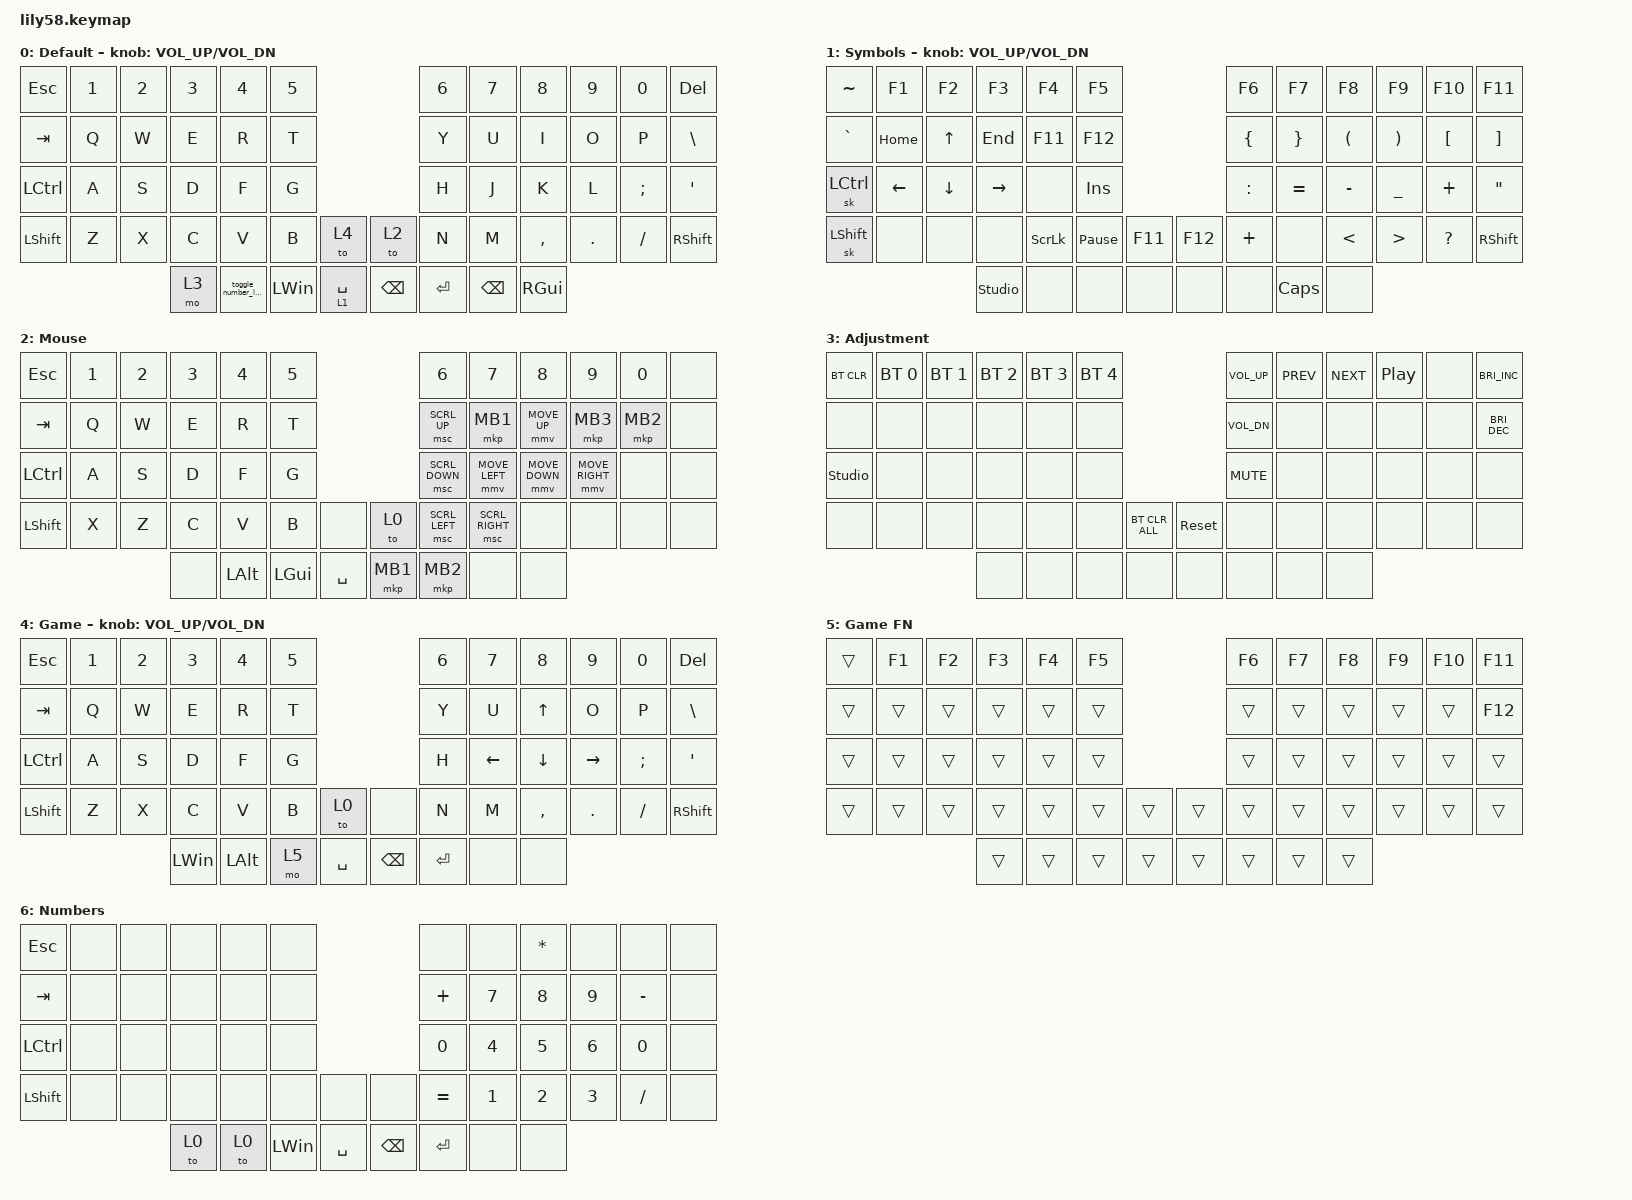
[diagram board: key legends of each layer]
/*
 * Copyright (c) 2020 The ZMK Contributors
 *
 * SPDX-License-Identifier: MIT
 */

#include <behaviors.dtsi>
#include <dt-bindings/zmk/bt.h>
#include <dt-bindings/zmk/keys.h>
#include <dt-bindings/zmk/pointing.h>

/ {
    combos {
        compatible = "zmk,combos";

        grave {
            bindings = <&kp GRAVE>;
            key-positions = <12 13>;
            layers = <0 4>;
        };

        tilde {
            bindings = <&kp TILDE>;
            key-positions = <0 1>;
            layers = <0 4>;
        };

        caps {
            bindings = <&kp CAPS>;
            key-positions = <36 49>;
            layers = <0>;
        };
    };

    behaviors {
        toggle_number_layer: toggle_number_layer {
            compatible = "zmk,behavior-tap-dance";
            label = "TOGGLE_NUMBER_LAYER";
            #binding-cells = <0>;
            bindings = <&kp LEFT_ALT>, <&to 6>;
        };
    };

    keymap {
        compatible = "zmk,keymap";

        default_layer {
            // ------------------------------------------------------------------------------------------------------------
            // |  ESC  |  1  |  2  |  3   |  4   |  5   |                   |  6   |  7    |  8    |  9   |   0   |   `   |
            // |  TAB  |  Q  |  W  |  E   |  R   |  T   |                   |  Y   |  U    |  I    |  O   |   P   |   -   |
            // |  CTRL |  A  |  S  |  D   |  F   |  G   |                   |  H   |  J    |  K    |  L   |   ;   |   '   |
            // | SHIFT |  Z  |  X  |  C   |  V   |  B   |   "["  |  |  "]"  |  N   |  M    |  ,    |  .   |   /   | SHIFT |
            //                     | ALT  | GUI  | LOWER|  ENTER |  | SPACE | RAISE| BSPC  | GUI   |

            bindings = <
&kp ESC    &kp N1  &kp N2  &kp N3  &kp N4                &kp N5                                      &kp N6     &kp N7    &kp N8     &kp N9   &kp N0    &kp DELETE
&kp TAB    &kp Q   &kp W   &kp E   &kp R                 &kp T                                       &kp Y      &kp U     &kp I      &kp O    &kp P     &kp BACKSLASH
&kp LCTRL  &kp A   &kp S   &kp D   &kp F                 &kp G                                       &kp H      &kp J     &kp K      &kp L    &kp SEMI  &kp SQT
&kp LSHFT  &kp Z   &kp X   &kp C   &kp V                 &kp B         &to 4          &to 2          &kp N      &kp M     &kp COMMA  &kp DOT  &kp FSLH  &kp RSHFT
                           &mo 3   &toggle_number_layer  &kp LEFT_WIN  &lt 1 SPACE    &kp BACKSPACE  &kp ENTER  &kp BSPC  &kp RGUI
            >;

            sensor-bindings = <&inc_dec_kp C_VOL_UP C_VOL_DN>;
            label = "Default";
        };

        symbol_layer {
            // ------------------------------------------------------------------------------------------------------------
            // | BTCLR | BT1 | BT2 |  BT3 |  BT4 |  BT5 |                   |      |       |       |      |       |       |
            // |  F1   |  F2 |  F3 |  F4  |  F5  |  F6  |                   |  F7  |  F8   |  F9   |  F10 |  F11  |  F12  |
            // |   `   |  !  |  @  |  #   |  $   |  %   |                   |  ^   |  &    |  *    |  (   |   )   |   ~   |
            // |       |     |     |      |      |      |        |  |       |      |  _    |  +    |  {   |   }   |  "|"  |
            //                     |      |      |      |        |  |       |      |       |       |

            bindings = <
&kp TILDE         &kp F1          &kp F2          &kp F3          &kp F4          &kp F5                               &kp F6          &kp F7           &kp F8                &kp F9                 &kp F10           &kp F11
&kp GRAVE         &kp HOME        &kp UP_ARROW    &kp END         &kp F11         &kp F12                              &kp LEFT_BRACE  &kp RIGHT_BRACE  &kp LEFT_PARENTHESIS  &kp RIGHT_PARENTHESIS  &kp LEFT_BRACKET  &kp RIGHT_BRACKET
&sk LEFT_CONTROL  &kp LEFT_ARROW  &kp DOWN_ARROW  &kp RIGHT       &none           &kp INS                              &kp COLON       &kp EQUAL        &kp MINUS             &kp UNDER              &kp PLUS          &kp DOUBLE_QUOTES
&sk LEFT_SHIFT    &none           &none           &none           &kp SCROLLLOCK  &kp PAUSE_BREAK  &kp F11    &kp F12  &kp PLUS        &none            &kp LESS_THAN         &kp GREATER_THAN       &kp QUESTION      &kp RIGHT_SHIFT
                                                  &studio_unlock  &none           &none            &none      &none    &none           &kp CAPS         &none
            >;

            sensor-bindings = <&inc_dec_kp C_VOL_UP C_VOL_DN>;
            label = "Symbols";
        };

        mouse_layer {
            bindings = <
&kp ESC    &kp N1  &kp N2  &kp N3  &kp N4    &kp N5                           &kp N6          &kp N7           &kp N8          &kp N9           &kp N0    &none
&kp TAB    &kp Q   &kp W   &kp E   &kp R     &kp T                            &msc SCRL_UP    &mkp MB1         &mmv MOVE_UP    &mkp MB3         &mkp MB2  &none
&kp LCTRL  &kp A   &kp S   &kp D   &kp F     &kp G                            &msc SCRL_DOWN  &mmv MOVE_LEFT   &mmv MOVE_DOWN  &mmv MOVE_RIGHT  &none     &none
&kp LSHFT  &kp X   &kp Z   &kp C   &kp V     &kp B     &none        &to 0     &msc SCRL_LEFT  &msc SCRL_RIGHT  &none           &none            &none     &none
                           &none   &kp LALT  &kp LGUI  &kp SPACE    &mkp MB1  &mkp MB2        &none            &none
            >;

            label = "Mouse";
        };

        adjustment_layer {
            bindings = <
&bt BT_CLR      &bt BT_SEL 0  &bt BT_SEL 1  &bt BT_SEL 2  &bt BT_SEL 3  &bt BT_SEL 4                                &kp C_VOLUME_UP  &kp C_PREV  &kp C_NEXT  &kp C_PLAY_PAUSE  &none  &kp C_BRIGHTNESS_INC
&none           &none         &none         &none         &none         &none                                       &kp C_VOL_DN     &none       &none       &none             &none  &kp C_BRIGHTNESS_DEC
&studio_unlock  &none         &none         &none         &none         &none                                       &kp C_MUTE       &none       &none       &none             &none  &none
&none           &none         &none         &none         &none         &none         &bt BT_CLR_ALL    &sys_reset  &none            &none       &none       &none             &none  &none
                                            &none         &none         &none         &none             &none       &none            &none       &none
            >;

            label = "Adjustment";
        };

        game_layer {
            bindings = <
&kp ESC    &kp N1  &kp N2  &kp N3        &kp N4        &kp N5                              &kp N6     &kp N7          &kp N8        &kp N9           &kp N0    &kp DELETE
&kp TAB    &kp Q   &kp W   &kp E         &kp R         &kp T                               &kp Y      &kp U           &kp UP_ARROW  &kp O            &kp P     &kp BACKSLASH
&kp LCTRL  &kp A   &kp S   &kp D         &kp F         &kp G                               &kp H      &kp LEFT_ARROW  &kp DOWN      &kp RIGHT_ARROW  &kp SEMI  &kp SQT
&kp LSHFT  &kp Z   &kp X   &kp C         &kp V         &kp B   &to 0        &none          &kp N      &kp M           &kp COMMA     &kp DOT          &kp FSLH  &kp RSHFT
                           &kp LEFT_WIN  &kp LEFT_ALT  &mo 5   &kp SPACE    &kp BACKSPACE  &kp ENTER  &none           &none
            >;

            sensor-bindings = <&inc_dec_kp C_VOL_UP C_VOL_DN>;
            label = "Game";
        };

        game_fn_layer {
            bindings = <
&trans  &kp F1  &kp F2  &kp F3  &kp F4  &kp F5                    &kp F6  &kp F7  &kp F8  &kp F9  &kp F10  &kp F11
&trans  &trans  &trans  &trans  &trans  &trans                    &trans  &trans  &trans  &trans  &trans   &kp F12
&trans  &trans  &trans  &trans  &trans  &trans                    &trans  &trans  &trans  &trans  &trans   &trans
&trans  &trans  &trans  &trans  &trans  &trans  &trans    &trans  &trans  &trans  &trans  &trans  &trans   &trans
                        &trans  &trans  &trans  &trans    &trans  &trans  &trans  &trans
            >;

            label = "Game FN";
        };

        number_layer {
            bindings = <
&kp ESCAPE      &none  &none  &none  &none  &none                                &none      &none   &kp STAR  &none   &none      &none
&kp TAB         &none  &none  &none  &none  &none                                &kp PLUS   &kp N7  &kp N8    &kp N9  &kp MINUS  &none
&kp LCTRL       &none  &none  &none  &none  &none                                &kp N0     &kp N4  &kp N5    &kp N6  &kp N0     &none
&kp LEFT_SHIFT  &none  &none  &none  &none  &none         &none        &none     &kp EQUAL  &kp N1  &kp N2    &kp N3  &kp SLASH  &none
                              &to 0  &to 0  &kp LEFT_WIN  &kp SPACE    &kp BSPC  &kp ENTER  &none   &none
            >;

            label = "Numbers";
        };
    };
};
